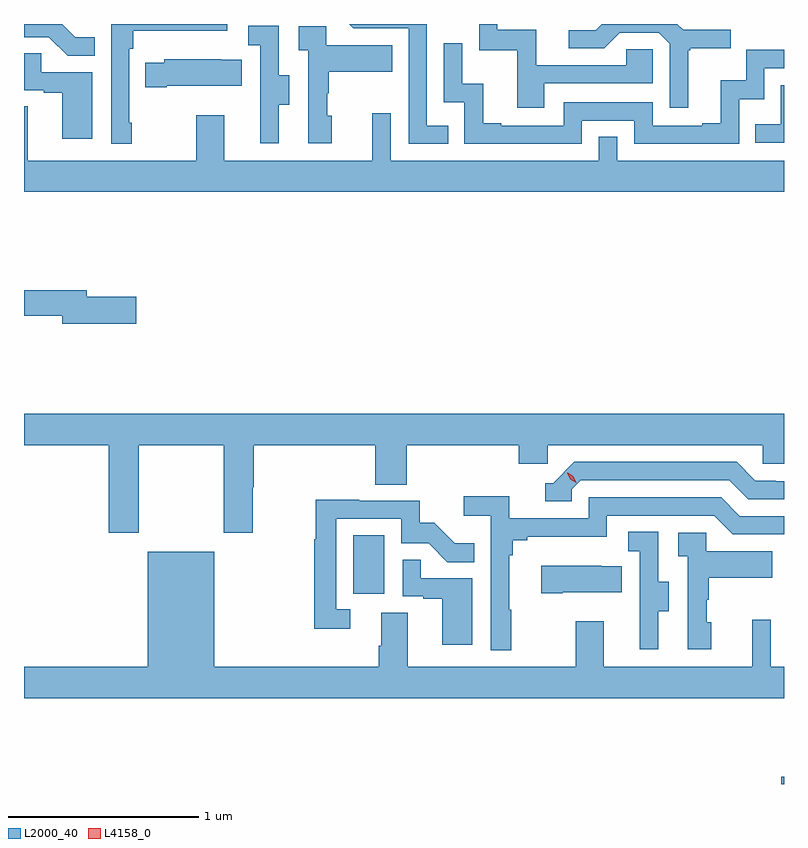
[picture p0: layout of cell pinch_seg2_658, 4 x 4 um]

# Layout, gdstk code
import gdstk
lib = gdstk.Library(unit=1e-6, precision=1e-09)
def R(c, l, rs):  # rectangles x0, y0, x1, y1
    for r in rs: c.add(gdstk.rectangle(r[:2], r[2:], *l))
def P(c, l, *ps):  # polygons
    for p in ps: c.add(gdstk.Polygon(p, *l))
L2000_40 = (2000, 40)
L4158_0 = (4158, 0)

pinch_seg2_658 = lib.new_cell('pinch_seg2_658')
R(pinch_seg2_658, L2000_40, [(1023.606,584.58,1023.62,584.619), (1021.352,585.582,1021.516,585.889)])
P(pinch_seg2_658, L2000_40, [(1023.115,588.441),(1023.127,588.441),(1023.127,588.452),(1023.34,588.452),(1023.34,588.549),(1023.09,588.549),(1023.059,588.58),(1022.662,588.58),(1022.628,588.546),(1022.487,588.546),(1022.487,588.453),(1022.674,588.453),(1022.755,588.534),(1022.961,588.534),(1023.018,588.477),(1023.018,588.138),(1023.115,588.138)],
  [(1022.359,588.267),(1022.928,588.267),(1022.928,588.447),(1022.791,588.447),(1022.791,588.363),(1022.317,588.363),(1022.317,588.549),(1022.112,588.549),(1022.112,588.58),(1022.016,588.58),(1022.016,588.441),(1022.215,588.441),(1022.215,588.138),(1022.359,588.138)],
  [(1019.993,588.511),(1019.889,588.511),(1019.82,588.58),(1019.62,588.58),(1019.62,588.51),(1019.751,588.51),(1019.849,588.412),(1019.993,588.412)],
  [(1021.853,588.045),(1021.74,588.045),(1021.74,588.58),(1021.331,588.58),(1021.353,588.558),(1021.644,588.558),(1021.644,587.949),(1021.853,587.949)],
  [(1020.187,588.061),(1020.174,588.061),(1020.174,588.449),(1020.194,588.449),(1020.194,588.545),(1020.69,588.545),(1020.69,588.58),(1020.078,588.58),(1020.078,587.949),(1020.187,587.949)],
  [(1020.961,588.154),(1021.015,588.154),(1021.015,588.309),(1020.96,588.309),(1020.96,588.572),(1020.801,588.572),(1020.801,588.469),(1020.864,588.469),(1020.864,588.165),(1020.863,588.165),(1020.863,587.952),(1020.961,587.952)],
  [(1021.24,588.096),(1021.215,588.096),(1021.215,588.215),(1021.225,588.215),(1021.225,588.329),(1021.559,588.329),(1021.559,588.469),(1021.212,588.469),(1021.212,588.567),(1021.065,588.567),(1021.065,588.443),(1021.116,588.443),(1021.116,587.952),(1021.24,587.952)],
  [(1022.556,588.072),(1022.832,588.072),(1022.832,587.949),(1023.384,587.949),(1023.384,588.185),(1023.516,588.185),(1023.516,588.348),(1023.62,588.348),(1023.62,588.444),(1023.42,588.444),(1023.42,588.283),(1023.287,588.283),(1023.287,588.058),(1023.191,588.058),(1023.191,588.045),(1022.928,588.045),(1022.928,588.168),(1022.46,588.168),(1022.46,588.045),(1022.131,588.045),(1022.131,588.058),(1022.036,588.058),(1022.036,588.266),(1021.926,588.266),(1021.926,588.478),(1021.83,588.478),(1021.83,588.168),(1021.938,588.168),(1021.938,587.949),(1022.556,587.949)],
  [(1019.98,588.327),(1019.711,588.327),(1019.711,588.425),(1019.62,588.425),(1019.62,588.231),(1019.723,588.231),(1019.723,588.219),(1019.822,588.219),(1019.822,587.976),(1019.98,587.976)],
  [(1020.37,588.254),(1020.767,588.254),(1020.767,588.391),(1020.659,588.391),(1020.659,588.394),(1020.357,588.394),(1020.357,588.376),(1020.259,588.376),(1020.259,588.247),(1020.37,588.247)],
  [(1023.62,588.258),(1023.604,588.258),(1023.604,588.052),(1023.469,588.052),(1023.469,587.955),(1023.62,587.955)],
  [(1023.62,587.86),(1022.742,587.86),(1022.742,587.987),(1022.646,587.987),(1022.646,587.86),(1021.551,587.86),(1021.551,588.109),(1021.454,588.109),(1021.454,587.86),(1020.673,587.86),(1020.673,588.1),(1020.526,588.1),(1020.526,587.86),(1019.641,587.86),(1019.641,588.146),(1019.62,588.146),(1019.62,587.696),(1023.62,587.696)],
  [(1020.211,587.144),(1019.95,587.144),(1019.95,587.18),(1019.62,587.18),(1019.62,587.044),(1019.822,587.044),(1019.822,587.002),(1020.211,587.002)],
  [(1020.225,586.364),(1020.67,586.364),(1020.67,585.903),(1020.825,585.903),(1020.825,586.142),(1020.83,586.142),(1020.83,586.364),(1021.469,586.364),(1021.469,586.156),(1021.634,586.156),(1021.634,586.364),(1022.225,586.364),(1022.225,586.266),(1022.376,586.266),(1022.376,586.364),(1023.507,586.364),(1023.507,586.266),(1023.62,586.266),(1023.62,586.528),(1019.62,586.528),(1019.62,586.364),(1020.065,586.364),(1020.065,585.903),(1020.225,585.903)],
  [(1022.502,586.131),(1022.55,586.179),(1023.333,586.179),(1023.432,586.08),(1023.62,586.08),(1023.62,586.173),(1023.576,586.173),(1023.576,586.176),(1023.469,586.176),(1023.37,586.275),(1022.517,586.275),(1022.406,586.164),(1022.363,586.164),(1022.363,586.068),(1022.502,586.068)],
  [(1022.185,585.497),(1022.173,585.497),(1022.173,585.785),(1022.192,585.785),(1022.192,585.862),(1022.269,585.862),(1022.269,585.881),(1022.688,585.881),(1022.688,585.993),(1023.252,585.993),(1023.351,585.894),(1023.62,585.894),(1023.62,585.99),(1023.388,585.99),(1023.289,586.089),(1022.592,586.089),(1022.592,585.978),(1022.174,585.978),(1022.174,586.094),(1021.935,586.094),(1021.935,585.992),(1022.076,585.992),(1022.076,585.285),(1022.185,585.285)],
  [(1021.336,585.501),(1021.263,585.501),(1021.263,585.975),(1021.605,585.975),(1021.605,585.846),(1021.749,585.846),(1021.847,585.748),(1021.991,585.748),(1021.991,585.847),(1021.887,585.847),(1021.78,585.954),(1021.704,585.954),(1021.704,586.071),(1021.385,586.071),(1021.385,586.076),(1021.155,586.076),(1021.155,585.868),(1021.147,585.868),(1021.147,585.396),(1021.336,585.396)],
  [(1022.959,585.49),(1023.013,585.49),(1023.013,585.645),(1022.958,585.645),(1022.958,585.908),(1022.799,585.908),(1022.799,585.805),(1022.862,585.805),(1022.862,585.501),(1022.861,585.501),(1022.861,585.288),(1022.959,585.288)],
  [(1023.238,585.432),(1023.213,585.432),(1023.213,585.551),(1023.223,585.551),(1023.223,585.665),(1023.557,585.665),(1023.557,585.805),(1023.21,585.805),(1023.21,585.903),(1023.063,585.903),(1023.063,585.779),(1023.114,585.779),(1023.114,585.288),(1023.238,585.288)],
  [(1023.62,585.196),(1023.549,585.196),(1023.549,585.445),(1023.452,585.445),(1023.452,585.196),(1022.671,585.196),(1022.671,585.436),(1022.524,585.436),(1022.524,585.196),(1021.639,585.196),(1021.639,585.482),(1021.499,585.482),(1021.499,585.308),(1021.487,585.308),(1021.487,585.196),(1020.622,585.196),(1020.622,585.802),(1020.272,585.802),(1020.272,585.196),(1019.62,585.196),(1019.62,585.032),(1023.62,585.032)],
  [(1021.978,585.663),(1021.709,585.663),(1021.709,585.761),(1021.614,585.761),(1021.614,585.567),(1021.721,585.567),(1021.721,585.555),(1021.82,585.555),(1021.82,585.312),(1021.978,585.312)],
  [(1022.455,585.59),(1022.765,585.59),(1022.765,585.727),(1022.657,585.727),(1022.657,585.73),(1022.343,585.73),(1022.343,585.583),(1022.455,585.583)])
P(pinch_seg2_658, L4158_0, [(1022.526,586.166),(1022.496,586.185),(1022.48,586.218),(1022.48,586.218),(1022.481,586.218),(1022.511,586.199),(1022.527,586.166),(1022.527,586.166)])

lib.write_gds('pinch_seg2_658.gds')
